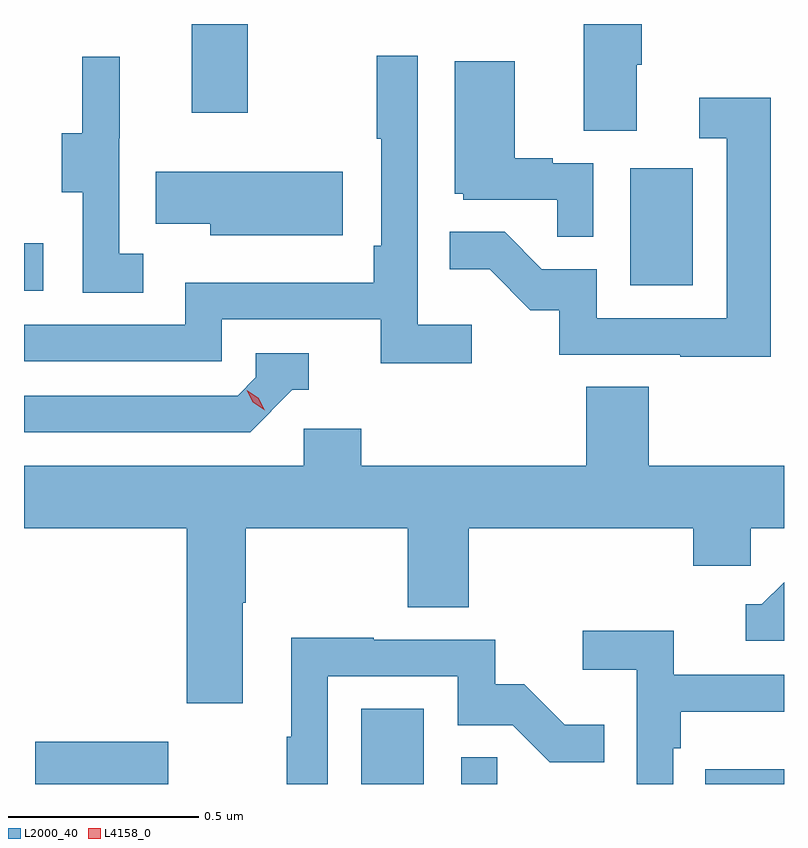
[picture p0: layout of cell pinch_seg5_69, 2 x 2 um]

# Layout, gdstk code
import gdstk
lib = gdstk.Library(unit=1e-6, precision=1e-09)
def R(c, l, rs):  # rectangles x0, y0, x1, y1
    for r in rs: c.add(gdstk.rectangle(r[:2], r[2:], *l))
def P(c, l, *ps):  # polygons
    for p in ps: c.add(gdstk.Polygon(p, *l))
L2000_40 = (2000, 40)
L4158_0 = (4158, 0)

pinch_seg5_69 = lib.new_cell('pinch_seg5_69')
R(pinch_seg5_69, L2000_40, [(1057.346,910.699,1057.696,910.81), (1058.204,910.699,1058.368,910.897), (1058.466,910.699,1058.561,910.769), (1059.109,910.699,1059.316,910.738), (1057.316,911.997,1057.366,912.122), (1058.912,912.012,1059.076,912.319), (1057.757,912.465,1057.905,912.699)])
P(pinch_seg5_69, L2000_40, [(1058.929,912.592),(1058.942,912.592),(1058.942,912.699),(1058.789,912.699),(1058.789,912.418),(1058.929,912.418)],
  [(1058.494,911.908),(1058.352,911.908),(1058.352,912.616),(1058.244,912.616),(1058.244,912.397),(1058.256,912.397),(1058.256,912.115),(1058.236,912.115),(1058.236,912.018),(1057.74,912.018),(1057.74,911.907),(1057.316,911.907),(1057.316,911.811),(1057.836,911.811),(1057.836,911.922),(1058.255,911.922),(1058.255,911.806),(1058.494,911.806)],
  [(1057.63,912.095),(1057.566,912.095),(1057.566,912.399),(1057.568,912.399),(1057.568,912.613),(1057.469,912.613),(1057.469,912.411),(1057.415,912.411),(1057.415,912.256),(1057.47,912.256),(1057.47,911.992),(1057.63,911.992)],
  [(1058.814,912.333),(1058.708,912.333),(1058.708,912.346),(1058.608,912.346),(1058.608,912.601),(1058.45,912.601),(1058.45,912.252),(1058.472,912.252),(1058.472,912.237),(1058.719,912.237),(1058.719,912.139),(1058.814,912.139)],
  [(1059.281,912.505),(1059.093,912.505),(1059.093,912.399),(1059.165,912.399),(1059.165,911.925),(1058.823,911.925),(1058.823,912.054),(1058.679,912.054),(1058.581,912.152),(1058.437,912.152),(1058.437,912.053),(1058.541,912.053),(1058.648,911.946),(1058.725,911.946),(1058.725,911.829),(1059.043,911.829),(1059.043,911.824),(1059.281,911.824)],
  [(1058.155,912.31),(1057.663,912.31),(1057.663,912.173),(1057.806,912.173),(1057.806,912.143),(1058.155,912.143)],
  [(1058.022,911.736),(1058.065,911.736),(1058.065,911.832),(1057.926,911.832),(1057.926,911.769),(1057.878,911.721),(1057.316,911.721),(1057.316,911.625),(1057.911,911.625)],
  [(1057.891,911.176),(1057.899,911.176),(1057.899,911.372),(1058.326,911.372),(1058.326,911.164),(1058.486,911.164),(1058.486,911.372),(1059.077,911.372),(1059.077,911.274),(1059.228,911.274),(1059.228,911.372),(1059.316,911.372),(1059.316,911.536),(1058.96,911.536),(1058.96,911.744),(1058.795,911.744),(1058.795,911.536),(1058.204,911.536),(1058.204,911.634),(1058.052,911.634),(1058.052,911.536),(1057.316,911.536),(1057.316,911.372),(1057.744,911.372),(1057.744,910.911),(1057.891,910.911)],
  [(1059.316,911.23),(1059.258,911.172),(1059.215,911.172),(1059.215,911.076),(1059.316,911.076)],
  [(1059.024,910.793),(1059.044,910.793),(1059.044,910.889),(1059.316,910.889),(1059.316,910.986),(1059.026,910.986),(1059.026,911.102),(1058.787,911.102),(1058.787,911),(1058.928,911),(1058.928,910.699),(1059.024,910.699)],
  [(1058.115,910.983),(1058.457,910.983),(1058.457,910.854),(1058.602,910.854),(1058.7,910.756),(1058.843,910.756),(1058.843,910.855),(1058.739,910.855),(1058.632,910.962),(1058.556,910.962),(1058.556,911.079),(1058.237,911.079),(1058.237,911.084),(1058.019,911.084),(1058.019,910.823),(1058.007,910.823),(1058.007,910.699),(1058.115,910.699)])
P(pinch_seg5_69, L4158_0, [(1057.949,911.683),(1057.918,911.703),(1057.902,911.735),(1057.902,911.735),(1057.902,911.735),(1057.933,911.716),(1057.949,911.683),(1057.949,911.683)])

lib.write_gds('pinch_seg5_69.gds')
